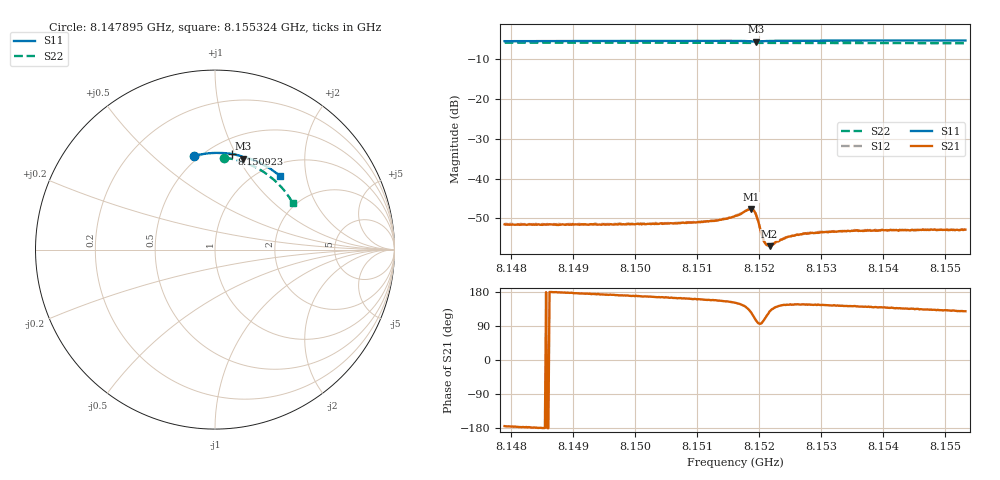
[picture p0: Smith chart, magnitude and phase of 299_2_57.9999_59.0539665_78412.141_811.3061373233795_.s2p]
#  HZ  S  RI  R  50.00
! Rohde & Schwarz Vector Network Analyzer
! Rohde-Schwarz,ZNB20-2Port,1311601062101988,3.16
! Created: UTC 3/21/2024, 1:03:42 AM
! freq[Hz]  re:S11  im:S11  re:S21  im:S21  re:S12  im:S12  re:S22  im:S22
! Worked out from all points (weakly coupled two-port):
!   401 points, 8.147895 GHz to 8.155324 GHz, reference 50 ohm
!   highest |S21| = -47.67 dB at 8.15187 GHz (marker M1); lowest = -57.0 dB at 8.152167 GHz (marker M2)
!   lowest |S11| = -5.5 dB at 8.151944 GHz (marker M3), VSWR 3.25, Z = 37.2 + j52.3 ohm
!   |S11| at or under -10 dB: nowhere
!   |S22| runs from -5.9 to -5.8 dB; largest |S21 - S12| = 0.00013
!   S11 on the Smith chart (normalised r, x): 8.147895 GHz: 0.47, +0.69; 8.150923 GHz: 0.64, +0.96; 8.155324 GHz: 1.22, +1.43
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8.1478954e9  -0.1167 0.523  -0.00264 -0.000253  -0.00269 -0.000196  0.0517 0.5122
8.1491398e9  -0.031 0.5371  -0.00264 0.000203  -0.00264 0.000252  0.1314 0.4965
8.1503842e9  0.0557 0.5372  -0.00261 0.000643  -0.00268 0.000702  0.2072 0.4684
8.1509228e9  0.0933 0.5328  -0.00263 0.000917  -0.00265 0.000961  0.238 0.4526
8.1513128e9  0.1206 0.5277  -0.00273 0.00114  -0.00274 0.00119  0.2598 0.4399
8.15161e9  0.1422 0.5217  -0.00295 0.00163  -0.00294 0.00166  0.276 0.4296
8.1518143e9  0.1569 0.5129  -0.00289 0.00281  -0.00286 0.00287  0.2866 0.4219
8.15187e9  0.1588 0.5089  -0.0024 0.00337  -0.00238 0.00345  0.2894 0.4197
8.1519071e9  0.1584 0.5065  -0.00174 0.00362  -0.00173 0.00368  0.2911 0.4184
8.1519443e9  0.1571 0.5058  -0.00096 0.00347  -0.000884 0.00346  0.2929 0.4169
8.1519814e9  0.1564 0.5071  -0.000388 0.00292  -0.000368 0.00294  0.2947 0.4157
8.1520371e9  0.1587 0.5103  -0.000241 0.00199  -0.000237 0.002  0.2975 0.4138
8.1520743e9  0.1615 0.5116  -0.000419 0.00158  -0.000419 0.00158  0.2996 0.4125
8.1521114e9  0.1647 0.5124  -0.000622 0.00134  -0.000583 0.00138  0.3016 0.411
8.1521671e9  0.1694 0.5123  -0.000867 0.00111  -0.000862 0.00116  0.3043 0.4089
8.1524272e9  0.1893 0.5083  -0.00148 0.00103  -0.00147 0.00106  0.3175 0.3984
8.1524829e9  0.1933 0.507  -0.00154 0.00104  -0.00152 0.00106  0.3201 0.3961
8.1527057e9  0.2085 0.5018  -0.0017 0.00111  -0.00164 0.00112  0.331 0.3867
8.1528543e9  0.2182 0.4979  -0.00172 0.00117  -0.00173 0.00118  0.3378 0.3805
8.1535415e9  0.2618 0.4777  -0.00175 0.00134  -0.00175 0.00141  0.3687 0.3492
8.1540987e9  0.2954 0.4586  -0.00164 0.00151  -0.00165 0.00152  0.3913 0.3223
8.1553245e9  0.3637 0.4088  -0.00142 0.00178  -0.00141 0.00183  0.4342 0.258
